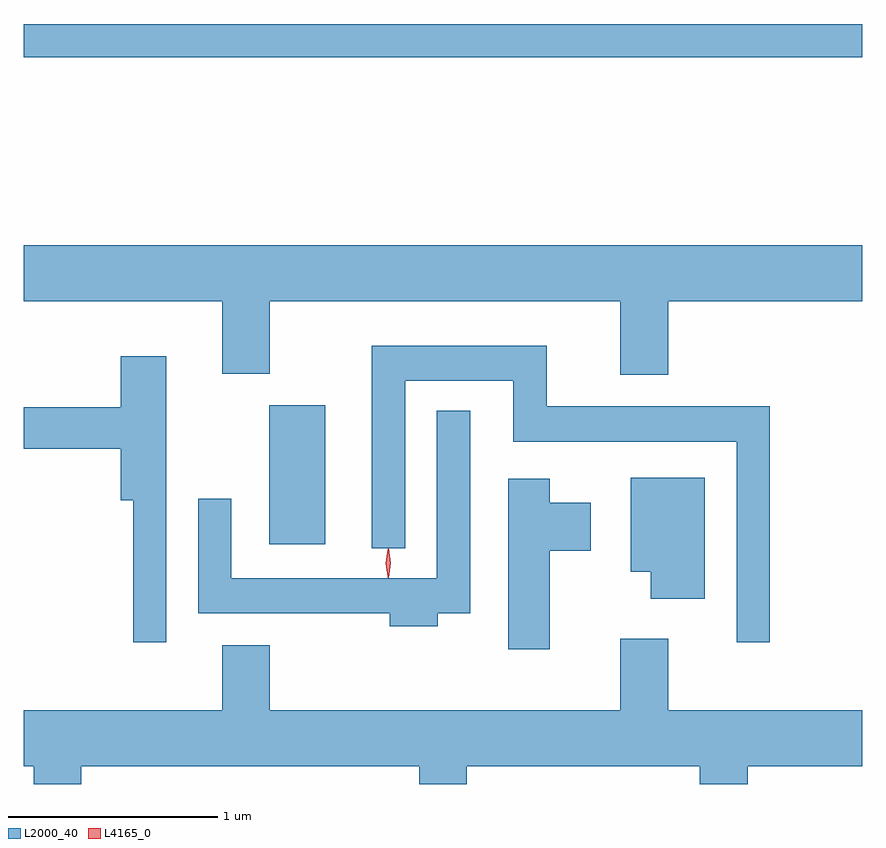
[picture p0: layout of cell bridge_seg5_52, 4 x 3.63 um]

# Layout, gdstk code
import gdstk
lib = gdstk.Library(unit=1e-6, precision=1e-09)
def R(c, l, rs):  # rectangles x0, y0, x1, y1
    for r in rs: c.add(gdstk.rectangle(r[:2], r[2:], *l))
def P(c, l, *ps):  # polygons
    for p in ps: c.add(gdstk.Polygon(p, *l))
L2000_40 = (2000, 40)
L4165_0 = (4165, 0)

bridge_seg5_52 = lib.new_cell('bridge_seg5_52')
R(bridge_seg5_52, L2000_40, [(1317.126,1473.396,1317.394,1474.059), (1315.955,1475.721,1319.955,1475.879)])
P(bridge_seg5_52, L2000_40, [(1319.029,1474.556),(1319.955,1474.556),(1319.955,1474.824),(1315.955,1474.824),(1315.955,1474.556),(1316.901,1474.556),(1316.901,1474.211),(1317.129,1474.211),(1317.129,1474.556),(1318.801,1474.556),(1318.801,1474.206),(1319.029,1474.206)],
  [(1319.514,1474.054),(1318.449,1474.054),(1318.449,1474.344),(1317.616,1474.344),(1317.616,1473.378),(1317.774,1473.378),(1317.774,1474.176),(1318.291,1474.176),(1318.291,1473.886),(1319.356,1473.886),(1319.356,1472.928),(1319.514,1472.928)],
  [(1316.634,1474.294),(1316.416,1474.294),(1316.416,1474.049),(1315.955,1474.049),(1315.955,1473.851),(1316.416,1473.851),(1316.416,1473.606),(1316.476,1473.606),(1316.476,1472.928),(1316.634,1472.928)],
  [(1317.929,1473.066),(1318.084,1473.066),(1318.084,1474.033),(1317.926,1474.033),(1317.926,1473.234),(1316.944,1473.234),(1316.944,1473.613),(1316.786,1473.613),(1316.786,1473.066),(1317.701,1473.066),(1317.701,1473.006),(1317.929,1473.006)],
  [(1319.204,1473.714),(1318.851,1473.714),(1318.851,1473.266),(1318.946,1473.266),(1318.946,1473.136),(1319.204,1473.136)],
  [(1318.464,1473.366),(1318.659,1473.366),(1318.659,1473.594),(1318.464,1473.594),(1318.464,1473.709),(1318.266,1473.709),(1318.266,1472.896),(1318.464,1472.896)],
  [(1316.229,1472.336),(1317.841,1472.336),(1317.841,1472.252),(1318.069,1472.252),(1318.069,1472.336),(1319.181,1472.336),(1319.181,1472.252),(1319.409,1472.252),(1319.409,1472.336),(1319.955,1472.336),(1319.955,1472.604),(1319.029,1472.604),(1319.029,1472.944),(1318.801,1472.944),(1318.801,1472.604),(1317.129,1472.604),(1317.129,1472.914),(1316.901,1472.914),(1316.901,1472.604),(1315.955,1472.604),(1315.955,1472.336),(1316.001,1472.336),(1316.001,1472.252),(1316.229,1472.252)])
P(bridge_seg5_52, L4165_0, [(1317.694,1473.237),(1317.685,1473.306),(1317.694,1473.376),(1317.695,1473.376),(1317.696,1473.376),(1317.705,1473.306),(1317.696,1473.237),(1317.695,1473.237)],
  [(1317.692,1473.239),(1317.692,1473.24),(1317.682,1473.306),(1317.692,1473.372),(1317.692,1473.373),(1317.693,1473.372),(1317.702,1473.306),(1317.693,1473.24)])

lib.write_gds('bridge_seg5_52.gds')
